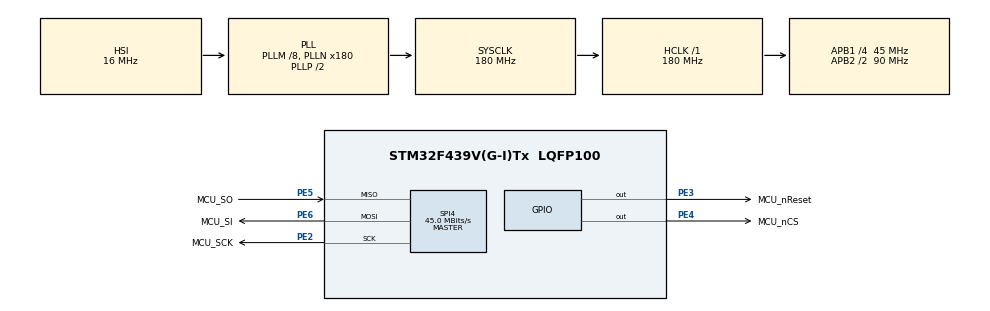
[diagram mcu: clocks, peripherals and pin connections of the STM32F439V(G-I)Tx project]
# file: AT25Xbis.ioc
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Mcu.Family=STM32F4
Mcu.Name=STM32F439V(G-I)Tx
Mcu.Package=LQFP100
NVIC.PriorityGroup=NVIC_PRIORITYGROUP_4
NVIC.SPI4_IRQn=true\:0\:0\:false\:false\:true\:true\:true\:true
PE2.GPIO_Label=MCU_SCK
PE2.Mode=Full_Duplex_Master
PE2.Signal=SPI4_SCK
PE3.GPIO_Label=MCU_nReset
PE3.Signal=GPIO_Output
PE4.GPIO_Label=MCU_nCS
PE4.Signal=GPIO_Output
PE5.GPIO_Label=MCU_SO
PE5.Mode=Full_Duplex_Master
PE5.Signal=SPI4_MISO
PE6.GPIO_Label=MCU_SI
PE6.Mode=Full_Duplex_Master
PE6.Signal=SPI4_MOSI
ProjectManager.HeapSize=0x200
ProjectManager.StackSize=0x400
ProjectManager.TargetToolchain=STM32CubeIDE
RCC.48MHZClocksFreq_Value=90000000
RCC.AHBFreq_Value=180000000
RCC.APB1CLKDivider=RCC_HCLK_DIV4
RCC.APB1Freq_Value=45000000
RCC.APB1TimFreq_Value=90000000
RCC.APB2CLKDivider=RCC_HCLK_DIV2
RCC.APB2Freq_Value=90000000
RCC.APB2TimFreq_Value=180000000
RCC.CortexFreq_Value=180000000
RCC.HCLKFreq_Value=180000000
RCC.HSE_VALUE=25000000
RCC.HSI_VALUE=16000000
RCC.LSE_VALUE=32768
RCC.PLLM=8
RCC.PLLN=180
RCC.SYSCLKFreq_VALUE=180000000
RCC.SYSCLKSource=RCC_SYSCLKSOURCE_PLLCLK
RCC.VCOOutputFreq_Value=360000000
SPI4.BaudRatePrescaler=SPI_BAUDRATEPRESCALER_2
SPI4.CalculateBaudRate=45.0 MBits/s
SPI4.Direction=SPI_DIRECTION_2LINES
SPI4.Mode=SPI_MODE_MASTER
SPI4.VirtualType=VM_MASTER
board=custom

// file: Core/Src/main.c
/* USER CODE BEGIN Header */
/**
  ******************************************************************************
  * @file           : main.c
  * @brief          : Main program body
  ******************************************************************************
  * @attention
  *
  * Copyright (c) 2024 STMicroelectronics.
  * All rights reserved.
  *
  * This software is licensed under terms that can be found in the LICENSE file
  * in the root directory of this software component.
  * If no LICENSE file comes with this software, it is provided AS-IS.
  *
  ******************************************************************************
  */
/* USER CODE END Header */
#include "main.h"
#include "spi.h"
#include "gpio.h"

/* USER CODE BEGIN Includes */
#include "UserSPI.h"
/* USER CODE END Includes */

/* USER CODE BEGIN PV */
int EOT,EOR;
extern struct Variables_SPI variable;
uint8_t SPI;
HAL_StatusTypeDef lol;
/* USER CODE END PV */

void SystemClock_Config(void);

int main(void)
{

  /* MCU Configuration--------------------------------------------------------*/

  /* Reset of all peripherals, Initializes the Flash interface and the Systick. */
  HAL_Init();

  /* Configure the system clock */
  SystemClock_Config();

  /* Initialize all configured peripherals */
  MX_GPIO_Init();
  MX_SPI4_Init();
  /* USER CODE BEGIN 2 */
  if(HAL_SPI_GetState(&hspi4) == HAL_SPI_STATE_READY)
  {
	  HAL_GPIO_WritePin(MCU_nCS_GPIO_Port, MCU_nCS_Pin, GPIO_PIN_SET);
	  HAL_Delay(1);
	  HAL_GPIO_WritePin(MCU_nCS_GPIO_Port, MCU_nCS_Pin, GPIO_PIN_RESET);
	  variable.Commande[0] = CMD_MAN_DEV_ID_R;
//	  variable.Commande[1] = 0x12;
//	  variable.Commande[2] = 0x23;
//	  variable.Commande[3] = 0x34;
	  lol = HAL_SPI_Transmit_IT(&hspi4, variable.Commande, 4);
//	  HAL_Delay(1);

//	  HAL_Delay(1);
//	  HAL_SPI_Transmit_IT(&hspi4, variable.Buffer_Tx, 256);
//	  AT25X_Write(0x3);
//	  variable.Commande[0] = 'A';
//	  if(variable.Commande[0] == 'A') variable.Commande[0] -= 0x37;
//	  HAL_Delay(100);
//	  variable.StatReg[0] = AT25X_Read(CMD_STATREG1_R);
//	  variable.StatReg[1] = AT25X_Read(CMD_STATREG2_R);
//	  variable.StatReg[2] = AT25X_Read(CMD_STATREG3_R);

//	  AT25X_Read(CMD_MAN_DEV_ID_R);

//	  AT25X_Read(CMD_JEDEC_ID_R);

//	  AT25X_Read(CMD_SFDP_R);

//	  AT25X_Read(CMD_BUF_R);
  }
  /* USER CODE END 2 */

  /* Infinite loop */
  /* USER CODE BEGIN WHILE */
  while (1)
  {
//	  HAL_SPI_Transmit_IT(&hspi4, variable.Commande, 4);
    /* USER CODE END WHILE */

  }
}

void SystemClock_Config(void)
{
  RCC_OscInitTypeDef RCC_OscInitStruct = {0};
  RCC_ClkInitTypeDef RCC_ClkInitStruct = {0};

  /** Configure the main internal regulator output voltage
  */
  __HAL_RCC_PWR_CLK_ENABLE();
  __HAL_PWR_VOLTAGESCALING_CONFIG(PWR_REGULATOR_VOLTAGE_SCALE1);

  /** Initializes the RCC Oscillators according to the specified parameters
  * in the RCC_OscInitTypeDef structure.
  */
  RCC_OscInitStruct.OscillatorType = RCC_OSCILLATORTYPE_HSI;
  RCC_OscInitStruct.HSIState = RCC_HSI_ON;
  RCC_OscInitStruct.HSICalibrationValue = RCC_HSICALIBRATION_DEFAULT;
  RCC_OscInitStruct.PLL.PLLState = RCC_PLL_ON;
  RCC_OscInitStruct.PLL.PLLSource = RCC_PLLSOURCE_HSI;
  RCC_OscInitStruct.PLL.PLLM = 8;
  RCC_OscInitStruct.PLL.PLLN = 180;
  RCC_OscInitStruct.PLL.PLLP = RCC_PLLP_DIV2;
  RCC_OscInitStruct.PLL.PLLQ = 4;
  if (HAL_RCC_OscConfig(&RCC_OscInitStruct) != HAL_OK)
  {
    Error_Handler();
  }

  /** Activate the Over-Drive mode
  */
  if (HAL_PWREx_EnableOverDrive() != HAL_OK)
  {
    Error_Handler();
  }

  /** Initializes the CPU, AHB and APB buses clocks
  */
  RCC_ClkInitStruct.ClockType = RCC_CLOCKTYPE_HCLK|RCC_CLOCKTYPE_SYSCLK
                              |RCC_CLOCKTYPE_PCLK1|RCC_CLOCKTYPE_PCLK2;
  RCC_ClkInitStruct.SYSCLKSource = RCC_SYSCLKSOURCE_PLLCLK;
  RCC_ClkInitStruct.AHBCLKDivider = RCC_SYSCLK_DIV1;
  RCC_ClkInitStruct.APB1CLKDivider = RCC_HCLK_DIV4;
  RCC_ClkInitStruct.APB2CLKDivider = RCC_HCLK_DIV2;

  if (HAL_RCC_ClockConfig(&RCC_ClkInitStruct, FLASH_LATENCY_5) != HAL_OK)
  {
    Error_Handler();
  }
}

/* USER CODE BEGIN 4 */
void HAL_SPI_TxCpltCallback(SPI_HandleTypeDef *hspi)
{
	lol = HAL_SPI_Receive_IT(&hspi4, variable.DeviceID, 2);
	EOT++;
}

void HAL_SPI_RxCpltCallback(SPI_HandleTypeDef *hspi)
{
	EOR++;
	HAL_GPIO_WritePin(MCU_nCS_GPIO_Port, MCU_nCS_Pin, GPIO_PIN_SET);

}
/* USER CODE END 4 */

void Error_Handler(void)
{
  __disable_irq();
  while (1)
  {
  }
}
